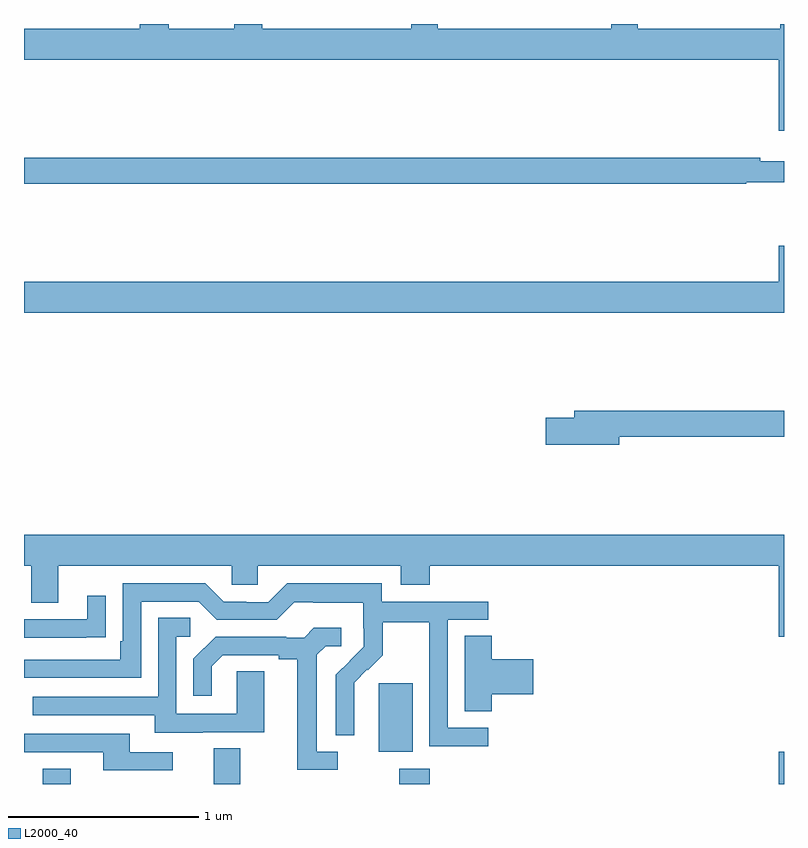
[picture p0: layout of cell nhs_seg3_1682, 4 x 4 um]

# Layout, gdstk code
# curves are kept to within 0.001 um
import gdstk
lib = gdstk.Library(unit=1e-6, precision=1e-09)
def R(c, l, rs):  # rectangles x0, y0, x1, y1
    for r in rs: c.add(gdstk.rectangle(r[:2], r[2:], *l))
def P(c, l, *ps):  # polygons
    for p in ps: c.add(gdstk.Polygon(p, *l))
L2000_40 = (2000, 40)

nhs_seg3_1682 = lib.new_cell('nhs_seg3_1682')
R(nhs_seg3_1682, L2000_40, [(197.098,734.4,197.245,734.479), (197.999,734.4,198.139,734.588), (198.976,734.4,199.136,734.479), (200.972,734.4,201,734.569), (198.866,734.57,199.045,734.931)])
P(nhs_seg3_1682, L2000_40, [(200.091,738.4),(200.091,738.376),(199.177,738.376),(199.177,738.4),(199.037,738.4),(199.037,738.376),(198.253,738.376),(198.253,738.4),(198.106,738.4),(198.106,738.376),(197.761,738.376),(197.761,738.4),(197.609,738.4),(197.609,738.376),(197,738.376),(197,738.212),(200.972,738.212),(200.972,737.838),(201,737.838),(201,738.4),(200.981,738.4),(200.981,738.376),(200.229,738.376),(200.229,738.4)],
  [(200.8,737.568),(201,737.568),(201,737.677),(200.876,737.677),(200.876,737.696),(197,737.696),(197,737.56),(200.8,737.56)],
  [(201,737.233),(200.972,737.233),(200.972,737.044),(197,737.044),(197,736.88),(201,736.88)],
  [(200.134,736.228),(201,736.228),(201,736.364),(199.895,736.364),(199.895,736.328),(199.746,736.328),(199.746,736.186),(200.134,736.186)],
  [(201,735.712),(197,735.712),(197,735.548),(197.039,735.548),(197.039,735.354),(197.179,735.354),(197.179,735.548),(198.093,735.548),(198.093,735.45),(198.231,735.45),(198.231,735.548),(198.983,735.548),(198.983,735.449),(199.136,735.449),(199.136,735.548),(200.972,735.548),(200.972,735.174),(201,735.174)],
  [(199.444,734.697),(199.23,734.697),(199.23,735.264),(199.444,735.264),(199.444,735.36),(198.882,735.36),(198.882,735.457),(198.385,735.457),(198.285,735.357),(198.17,735.357),(198.17,735.36),(198.051,735.36),(197.955,735.456),(197.52,735.456),(197.52,735.151),(197.507,735.151),(197.507,735.054),(197,735.054),(197,734.958),(197.616,734.958),(197.616,735.36),(197.919,735.36),(198.015,735.264),(198.33,735.264),(198.423,735.357),(198.523,735.357),(198.523,735.353),(198.786,735.353),(198.786,735.219),(198.788,735.219),(198.788,735.122),(198.642,734.974),(198.642,734.656),(198.738,734.656),(198.737,734.933),(198.807,735.003),(198.81,735),(198.887,735.077),(198.887,735.252),(199.132,735.252),(199.132,735.028),(199.134,735.028),(199.134,734.599),(199.444,734.599)],
  [(197.327,735.172),(197.429,735.172),(197.429,735.391),(197.333,735.391),(197.333,735.267),(197,735.267),(197,735.171),(197.327,735.171)],
  [(197.941,734.673),(198.265,734.673),(198.265,734.993),(198.12,734.993),(198.12,734.769),(197.802,734.769),(197.802,735.174),(197.875,735.174),(197.875,735.275),(197.706,735.275),(197.706,734.859),(197.047,734.859),(197.047,734.763),(197.687,734.763),(197.687,734.669),(197.941,734.669)],
  [(198.652,734.571),(198.541,734.571),(198.541,735.079),(198.588,735.126),(198.67,735.126),(198.67,735.223),(198.526,735.223),(198.474,735.171),(198.38,735.171),(198.38,735.174),(198.008,735.174),(197.892,735.058),(197.892,734.865),(197.989,734.865),(197.989,735.021),(198.046,735.078),(198.341,735.078),(198.341,735.056),(198.437,735.056),(198.437,734.475),(198.652,734.475)],
  [(199.463,734.873),(199.681,734.873),(199.681,735.056),(199.463,735.056),(199.463,735.179),(199.319,735.179),(199.319,734.782),(199.463,734.782)],
  [(197.782,734.568),(197.557,734.568),(197.557,734.664),(197,734.664),(197,734.568),(197.417,734.568),(197.417,734.472),(197.782,734.472)])

lib.write_gds('nhs_seg3_1682.gds')
